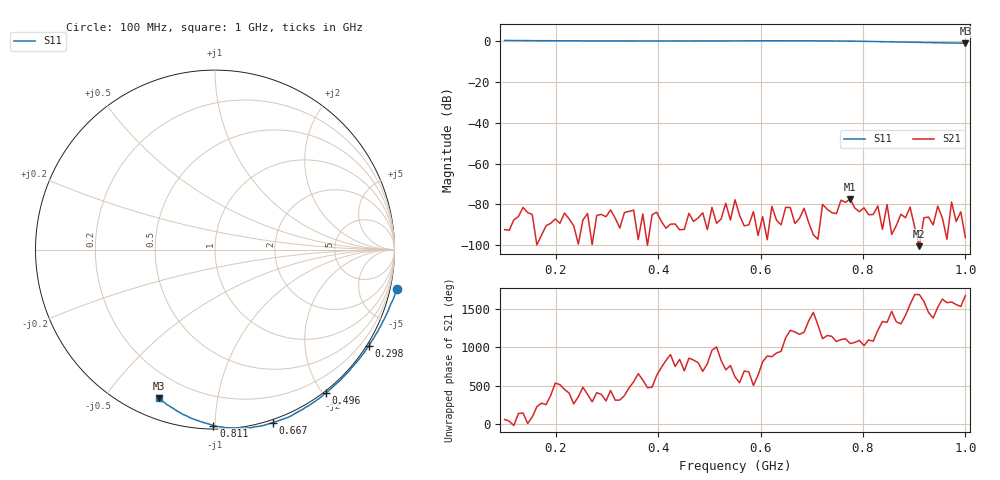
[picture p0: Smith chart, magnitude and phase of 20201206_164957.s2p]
# HZ S RI R 50
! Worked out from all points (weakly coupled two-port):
!   101 points, 100 MHz to 1 GHz, reference 50 ohm
!   highest |S21| = -77.39 dB at 775 MHz (marker M1); lowest = -100.5 dB at 910 MHz (marker M2)
!   lowest |S11| = -1.0 dB at 1 GHz (marker M3), VSWR 16.68, Z = 4.42 - j34.3 ohm
!   |S11| at or under -10 dB: nowhere
!   S12 and S22 are empty: the file has one direction only
!   S11 on the Smith chart (normalised r, x): 100 MHz: -1.52, -9.07; 298 MHz: -0.07, -3.49; 496 MHz: -0.03, -2.04; 667 MHz: -0.02, -1.39; 811 MHz: 0.02, -0.99; 1 GHz: 0.09, -0.69
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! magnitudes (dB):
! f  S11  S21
! 100 MHz  0.3  -92.4
! 253 MHz  0.1  -87.6
! 298 MHz  0.1  -86.1
! 406 MHz  0.1  -88.2
! 496 MHz  0.1  -92.4
! 541 MHz  0.1  -87.7
! 550 MHz  0.1  -77.7
! 559 MHz  0.1  -85.4
! 667 MHz  0.1  -89.4
! 703 MHz  0.1  -94.9
! 748 MHz  0.0  -84.6
! 757 MHz  0.0  -78.0
! 766 MHz  0.0  -79.0
! 775 MHz  0.0  -77.4
! 784 MHz  -0.1  -81.8
! 811 MHz  -0.2  -85.1
! 856 MHz  -0.4  -94.7
! 910 MHz  -0.6  -100.5
! 964 MHz  -0.9  -97.1
! 973 MHz  -0.9  -78.9
! 982 MHz  -1.0  -88.4
! 1 GHz  -1.0  -96.2
